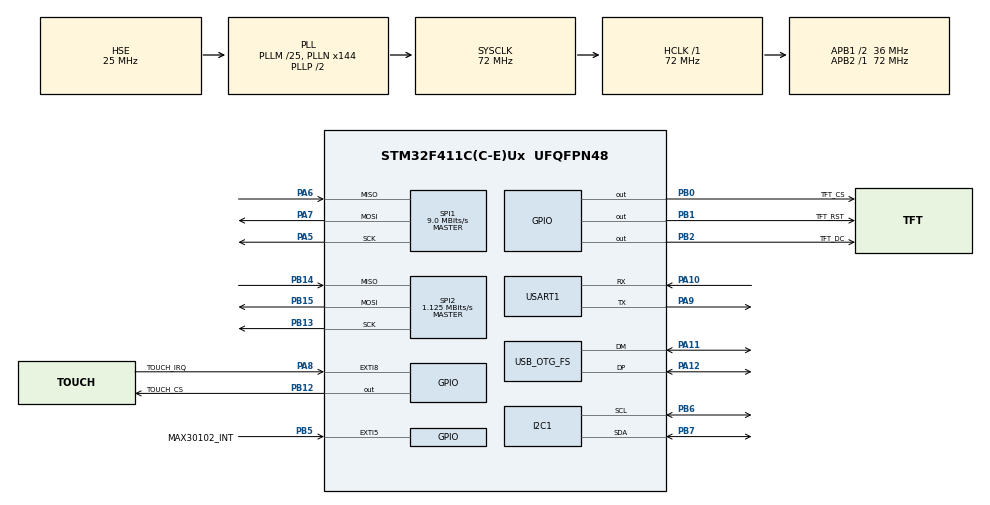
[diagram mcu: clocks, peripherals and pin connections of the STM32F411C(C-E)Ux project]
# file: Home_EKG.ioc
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FATFS._FS_EXFAT=1
FATFS._MAX_SS=4096
FATFS._USE_LFN=1
I2C1.I2C_Mode=I2C_Fast
Mcu.Family=STM32F4
Mcu.Name=STM32F411C(C-E)Ux
Mcu.Package=UFQFPN48
NVIC.EXTI9_5_IRQn=true\:0\:0\:false\:true\:true\:1\:true\:true\:true
NVIC.OTG_FS_IRQn=true\:0\:0\:false\:false\:true\:false\:true\:true
NVIC.PriorityGroup=NVIC_PRIORITYGROUP_4
PA10.Mode=Asynchronous
PA10.Signal=USART1_RX
PA11.Mode=Host_Only
PA11.Signal=USB_OTG_FS_DM
PA12.Mode=Host_Only
PA12.Signal=USB_OTG_FS_DP
PA13.Mode=Serial_Wire
PA13.Signal=SYS_JTMS-SWDIO
PA14.Mode=Serial_Wire
PA14.Signal=SYS_JTCK-SWCLK
PA5.Mode=Full_Duplex_Master
PA5.Signal=SPI1_SCK
PA6.Mode=Full_Duplex_Master
PA6.Signal=SPI1_MISO
PA7.Mode=Full_Duplex_Master
PA7.Signal=SPI1_MOSI
PA8.GPIO_Label=TOUCH_IRQ
PA8.GPIO_ModeDefaultEXTI=GPIO_MODE_IT_FALLING
PA8.Signal=GPXTI8
PA9.Mode=Asynchronous
PA9.Signal=USART1_TX
PB0.GPIO_Label=TFT_CS
PB0.Signal=GPIO_Output
PB1.GPIO_Label=TFT_RST
PB1.Signal=GPIO_Output
PB12.GPIO_Label=TOUCH_CS
PB12.Signal=GPIO_Output
PB13.Mode=Full_Duplex_Master
PB13.Signal=SPI2_SCK
PB14.Mode=Full_Duplex_Master
PB14.Signal=SPI2_MISO
PB15.Mode=Full_Duplex_Master
PB15.Signal=SPI2_MOSI
PB2.GPIO_Label=TFT_DC
PB2.Signal=GPIO_Output
PB5.GPIO_Label=MAX30102_INT
PB5.GPIO_ModeDefaultEXTI=GPIO_MODE_IT_FALLING
PB5.Signal=GPXTI5
PB6.Mode=I2C
PB6.Signal=I2C1_SCL
PB7.Mode=I2C
PB7.Signal=I2C1_SDA
PC14-OSC32_IN.Mode=LSE-External-Oscillator
PC14-OSC32_IN.Signal=RCC_OSC32_IN
PC15-OSC32_OUT.Mode=LSE-External-Oscillator
PC15-OSC32_OUT.Signal=RCC_OSC32_OUT
PH0\ -\ OSC_IN.Mode=HSE-External-Oscillator
PH0\ -\ OSC_IN.Signal=RCC_OSC_IN
PH1\ -\ OSC_OUT.Mode=HSE-External-Oscillator
PH1\ -\ OSC_OUT.Signal=RCC_OSC_OUT
ProjectManager.HeapSize=0x200
ProjectManager.StackSize=0x400
ProjectManager.TargetToolchain=STM32CubeIDE
RCC.48MHZClocksFreq_Value=48000000
RCC.AHBFreq_Value=72000000
RCC.APB1CLKDivider=RCC_HCLK_DIV2
RCC.APB1Freq_Value=36000000
RCC.APB1TimFreq_Value=72000000
RCC.APB2Freq_Value=72000000
RCC.APB2TimFreq_Value=72000000
RCC.CortexFreq_Value=72000000
RCC.HCLKFreq_Value=72000000
RCC.HSE_VALUE=25000000
RCC.HSI_VALUE=16000000
RCC.PLLM=25
RCC.PLLN=144
RCC.PLLQ=3
RCC.SYSCLKFreq_VALUE=72000000
RCC.SYSCLKSource=RCC_SYSCLKSOURCE_PLLCLK
RCC.VCOOutputFreq_Value=144000000
RTC.Hours=20
RTC.Minutes=30
RTC.Month=RTC_MONTH_SEPTEMBER
RTC.Year=23
SPI1.BaudRatePrescaler=SPI_BAUDRATEPRESCALER_8
SPI1.CalculateBaudRate=9.0 MBits/s
SPI1.Direction=SPI_DIRECTION_2LINES
SPI1.Mode=SPI_MODE_MASTER
SPI1.VirtualType=VM_MASTER
SPI2.BaudRatePrescaler=SPI_BAUDRATEPRESCALER_32
SPI2.CalculateBaudRate=1.125 MBits/s
SPI2.Direction=SPI_DIRECTION_2LINES
SPI2.Mode=SPI_MODE_MASTER
SPI2.VirtualType=VM_MASTER
USART1.VirtualMode=VM_ASYNC
USB_HOST.USBH_HandleTypeDef=hUsbHostFS
USB_HOST.VirtualModeFS=Msc
USB_OTG_FS.VirtualMode=Host_Only
USB_OTG_FS.phy_itface=HCD_PHY_EMBEDDED
VP_FATFS_VS_USB.Mode=USB
VP_RTC_VS_RTC_Activate.Mode=RTC_Enabled
VP_RTC_VS_RTC_Calendar.Mode=RTC_Calendar
VP_USB_HOST_VS_USB_HOST_MSC_FS.Mode=MSC_FS
board=custom

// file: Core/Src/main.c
/* USER CODE BEGIN Header */
/**
  ******************************************************************************
  * @file           : main.c
  * @brief          : Main program body
  ******************************************************************************
  * @attention
  *
  * Copyright (c) 2023 STMicroelectronics.
  * All rights reserved.
  *
  * This software is licensed under terms that can be found in the LICENSE file
  * in the root directory of this software component.
  * If no LICENSE file comes with this software, it is provided AS-IS.
  *
  ******************************************************************************
  */
/* USER CODE END Header */
#include "main.h"
#include "fatfs.h"
#include "i2c.h"
#include "rtc.h"
#include "spi.h"
#include "usart.h"
#include "usb_host.h"
#include "gpio.h"

/* USER CODE BEGIN Includes */
#include "stdio.h"
#include "string.h"

#include "MAX30102/MAX30102.h"
#include "TFT_ILI9341.h"
#include "GFX_Color.h"
#include "GFX_EnhancedFonts.h"
#include "EnhancedFonts/arialBlack_20ptFontInfo.h"
#include "XPT2064.h"
#include "paint.h"
#include "Display_Interface.h"
#include "UART_log.h"
#include "Button.h"
/* USER CODE END Includes */

/* USER CODE BEGIN PV */

RTC_TimeTypeDef RtcTime;
RTC_DateTypeDef RtcDate;
uint8_t TimeSetMark;
/* USER CODE END PV */

void SystemClock_Config(void);
static void MX_NVIC_Init(void);
void MX_USB_HOST_Process(void);

int main(void)
{

  /* MCU Configuration--------------------------------------------------------*/

  /* Reset of all peripherals, Initializes the Flash interface and the Systick. */
  HAL_Init();

  /* Configure the system clock */
  SystemClock_Config();

  /* Initialize all configured peripherals */
  MX_GPIO_Init();
  MX_USART1_UART_Init();
  MX_SPI1_Init();
  MX_SPI2_Init();
  MX_RTC_Init();
  MX_I2C1_Init();
  MX_FATFS_Init();
  MX_USB_HOST_Init();

  /* Initialize interrupts */
  MX_NVIC_Init();

  /* Infinite loop */
  while (1)
  {
  }
}

void SystemClock_Config(void)
{
  RCC_OscInitTypeDef RCC_OscInitStruct = {0};
  RCC_ClkInitTypeDef RCC_ClkInitStruct = {0};

  /** Configure the main internal regulator output voltage
  */
  __HAL_RCC_PWR_CLK_ENABLE();
  __HAL_PWR_VOLTAGESCALING_CONFIG(PWR_REGULATOR_VOLTAGE_SCALE1);

  /** Initializes the RCC Oscillators according to the specified parameters
  * in the RCC_OscInitTypeDef structure.
  */
  RCC_OscInitStruct.OscillatorType = RCC_OSCILLATORTYPE_LSI|RCC_OSCILLATORTYPE_HSE;
  RCC_OscInitStruct.HSEState = RCC_HSE_ON;
  RCC_OscInitStruct.LSIState = RCC_LSI_ON;
  RCC_OscInitStruct.PLL.PLLState = RCC_PLL_ON;
  RCC_OscInitStruct.PLL.PLLSource = RCC_PLLSOURCE_HSE;
  RCC_OscInitStruct.PLL.PLLM = 25;
  RCC_OscInitStruct.PLL.PLLN = 144;
  RCC_OscInitStruct.PLL.PLLP = RCC_PLLP_DIV2;
  RCC_OscInitStruct.PLL.PLLQ = 3;
  if (HAL_RCC_OscConfig(&RCC_OscInitStruct) != HAL_OK)
  {
    Error_Handler();
  }

  /** Initializes the CPU, AHB and APB buses clocks
  */
  RCC_ClkInitStruct.ClockType = RCC_CLOCKTYPE_HCLK|RCC_CLOCKTYPE_SYSCLK
                              |RCC_CLOCKTYPE_PCLK1|RCC_CLOCKTYPE_PCLK2;
  RCC_ClkInitStruct.SYSCLKSource = RCC_SYSCLKSOURCE_PLLCLK;
  RCC_ClkInitStruct.AHBCLKDivider = RCC_SYSCLK_DIV1;
  RCC_ClkInitStruct.APB1CLKDivider = RCC_HCLK_DIV2;
  RCC_ClkInitStruct.APB2CLKDivider = RCC_HCLK_DIV1;

  if (HAL_RCC_ClockConfig(&RCC_ClkInitStruct, FLASH_LATENCY_2) != HAL_OK)
  {
    Error_Handler();
  }
}

/**
  * @brief NVIC Configuration.
  * @retval None
  */
static void MX_NVIC_Init(void)
{
  /* EXTI9_5_IRQn interrupt configuration */
  HAL_NVIC_SetPriority(EXTI9_5_IRQn, 0, 0);
  HAL_NVIC_EnableIRQ(EXTI9_5_IRQn);
}

void Error_Handler(void)
{
  __disable_irq();
  while (1)
  {
  }
}
